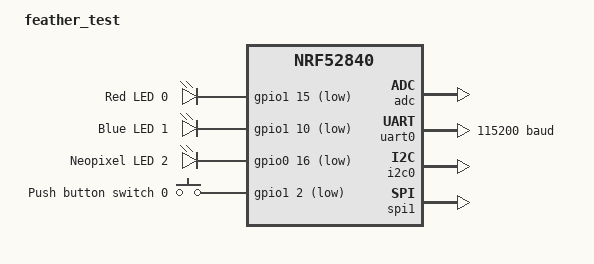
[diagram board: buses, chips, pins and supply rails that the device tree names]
/*
 * Copyright (c) 2018 Nordic Semiconductor ASA
 * Copyright (c) 2017 Shawn Nock <shawn@monadnock.ca>
 * Copyright (c) 2017 Linaro Limited
 *
 * SPDX-License-Identifier: Apache-2.0
 */

/dts-v1/;
#include <nordic/nrf52840_qiaa.dtsi>
#include "feather_test-pinctrl.dtsi"

/ {
	model = "feather_test";
	compatible = "nordic,feather_test";

	chosen {
		zephyr,console = &uart0;
		zephyr,shell-uart = &uart0;
		zephyr,uart-mcumgr = &uart0;
		zephyr,bt-mon-uart = &uart0;
		zephyr,bt-c2h-uart = &uart0;
		zephyr,sram = &sram0;
		zephyr,flash = &flash0;
		zephyr,code-partition = &slot0_partition;
	};

	leds {
		compatible = "gpio-leds";
		led0: led_0 {
			gpios = <&gpio1 15 GPIO_ACTIVE_LOW>;
			label = "Red LED 0";
		};
		led1: led_1 {
			gpios = <&gpio1 10 GPIO_ACTIVE_LOW>;
			label = "Blue LED 1";
		};
		led2: led_2 {
			gpios = <&gpio0 16 GPIO_ACTIVE_LOW>;
			label = "Neopixel LED 2";
		};
	};

	buttons {
		compatible = "gpio-keys";
		button0: button_0 {
			label = "Push button switch 0";
			gpios = <&gpio1 2 (GPIO_PULL_UP | GPIO_ACTIVE_LOW)>;
		};
	};

	/* These aliases are provided for compatibility with samples */
	aliases {
		led0 = &led0;
		led1 = &led1;
		led2 = &led2;
		sw0 = &button0;
		bootloader-led0 = &led0;
		mcuboot-button0 = &button0;
		watchdog0 = &wdt0;
		//mcuboot-led0 = &led0;
	};
};

&adc {
	status = "okay";
};

&gpiote {
	status = "okay";
};

&gpio0 {
	status = "okay";
};

&gpio1 {
	status = "okay";
};

&uart0 {
	compatible = "nordic,nrf-uarte";
	status = "okay";
	current-speed = <115200>;
	pinctrl-0 = <&uart0_default>;
	pinctrl-1 = <&uart0_sleep>;
	pinctrl-names = "default", "sleep";
};

&i2c0 {
	compatible = "nordic,nrf-twi";
	status = "okay";
	pinctrl-0 = <&i2c0_default>;
	pinctrl-1 = <&i2c0_sleep>;
	pinctrl-names = "default", "sleep";
};

&spi1 {
	compatible = "nordic,nrf-spi";
	status = "okay";
	pinctrl-0 = <&spi1_default>;
	pinctrl-1 = <&spi1_sleep>;
	pinctrl-names = "default", "sleep";
};

&flash0 {

	partitions {
		compatible = "fixed-partitions";
		#address-cells = <1>;
		#size-cells = <1>;

		boot_partition: partition@0 {
			label = "mcuboot";
			reg = <0x00000000 0xc000>;
		};
		slot0_partition: partition@c000 {
			label = "image-0";
			reg = <0x0000C000 0x67000>;
		};
		slot1_partition: partition@73000 {
			label = "image-1";
			reg = <0x00073000 0x67000>;
		};
		scratch_partition: partition@da000 {
			label = "image-scratch";
			reg = <0x000da000 0x1e000>;
		};

		/*
		 * The flash starting at 0x000f8000 and ending at
		 * 0x000fffff is reserved for use by the application.
		 */

		/* Storage partition will be used by FCB/NFFS/NVS if enabled. */
		storage_partition: partition@f8000 {
			label = "storage";
			reg = <0x000f8000 0x00008000>;
		};
	};
};
